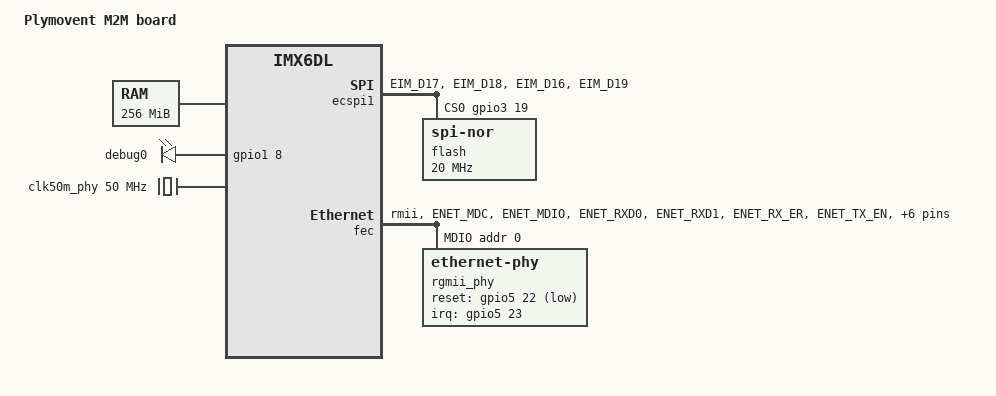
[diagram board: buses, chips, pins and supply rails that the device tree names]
// SPDX-License-Identifier: GPL-2.0-or-later
/*
 * Copyright (c) 2014 Protonic Holland
 */

/dts-v1/;
#include <arm/imx6dl.dtsi>
#include "imx6qdl-prti6q.dtsi"
#include "imx6qdl-prti6q-nor.dtsi"

/ {
	model = "Plymovent M2M board";
	compatible = "ply,plym2m", "fsl,imx6dl";

	memory {
		reg = <0x10000000 0x10000000>;
	};

	leds: leds {
		compatible = "gpio-leds";
		pinctrl-names = "default";
		pinctrl-0 = <&pinctrl_leds>;

		debug0 {
			label = "debug0";
			gpios = <&gpio1 8 0>;
			linux,default-trigger = "heartbeat";
		};
	};

	clk50m_phy: phy_clock {
		compatible = "fixed-clock";
		#clock-cells = <0>;
		clock-frequency = <50000000>;
	};
};

&ecspi1 {
	cs-gpios = <&gpio3 19 GPIO_ACTIVE_HIGH>;
	pinctrl-names = "default";
	pinctrl-0 = <&pinctrl_ecspi1>;
	status = "okay";

	flash@0 {
		compatible = "jedec,spi-nor";
		reg = <0>;
		spi-max-frequency = <20000000>;
		#address-cells = <1>;
		#size-cells = <1>;
	};
};

&fec {
	pinctrl-names = "default";
	pinctrl-0 = <&pinctrl_enet>;
	phy-mode = "rmii";
	clocks = <&clks IMX6QDL_CLK_ENET>,
		 <&clks IMX6QDL_CLK_ENET>,
		 <&clk50m_phy>;
	clock-names = "ipg", "ahb", "ptp";
	status = "okay";

	mdio {
		#address-cells = <1>;
		#size-cells = <0>;

		/* Microchip KSZ8081RNA PHY */
		rgmii_phy: ethernet-phy@0 {
			reg = <0>;
			interrupts-extended = <&gpio5 23 IRQ_TYPE_LEVEL_LOW>;
			reset-gpios = <&gpio5 22 GPIO_ACTIVE_LOW>;
			reset-assert-us = <10000>;
			reset-deassert-us = <300>;
		};
	};
};

&iomuxc {
	pinctrl_hog: hoggrp {
		fsl,pins = <
			/* CAN1_SR GPIO output */
			MX6QDL_PAD_KEY_COL3__GPIO4_IO12	0x13070

			MX6QDL_PAD_GPIO_0__GPIO1_IO00	0x1b0b0 /* CAN1_TERM */
			MX6QDL_PAD_EIM_EB2__GPIO2_IO30	0x1b0b0 /* TSC_BUSY */

			/* HW revision detect */
			MX6QDL_PAD_SD4_DAT0__GPIO2_IO08 0x1b0b0 /* REV_ID0 */
			MX6QDL_PAD_SD4_DAT1__GPIO2_IO09 0x1b0b0 /* REV_ID1 */
			MX6QDL_PAD_SD4_DAT2__GPIO2_IO10 0x1b0b0 /* REV_ID2 */
			MX6QDL_PAD_SD4_DAT3__GPIO2_IO11 0x1b0b0 /* REV_ID3 */
			MX6QDL_PAD_SD4_DAT4__GPIO2_IO12 0x1b0b0 /* REV_ID4 */
		>;
	};

	pinctrl_ecspi1: ecspi1grp {
		fsl,pins = <
			MX6QDL_PAD_EIM_D17__ECSPI1_MISO		0x100b1
			MX6QDL_PAD_EIM_D18__ECSPI1_MOSI		0x100b1
			MX6QDL_PAD_EIM_D16__ECSPI1_SCLK		0x100b1
			/* CS */
			MX6QDL_PAD_EIM_D19__GPIO3_IO19		0x000b1
		>;
	};

	pinctrl_usbotg: usbotggrp {
		fsl,pins = <
			MX6QDL_PAD_EIM_D21__USB_OTG_OC	0x1b0b0
			/* power enable, high active */
			MX6QDL_PAD_EIM_D22__GPIO3_IO22	0x1b0b0
		>;
	};

	pinctrl_ipu1_disp: ipudisp1grp {
		fsl,pins = <
			/* DSE 0x30 => 25 Ohm, 0x20 => 37 Ohm, 0x10 => 75 Ohm */
			MX6QDL_PAD_DI0_DISP_CLK__IPU1_DI0_DISP_CLK	0x30
			MX6QDL_PAD_DI0_PIN15__IPU1_DI0_PIN15		0x30
			MX6QDL_PAD_DI0_PIN2__IPU1_DI0_PIN02		0x30
			MX6QDL_PAD_DI0_PIN3__IPU1_DI0_PIN03		0x30
			MX6QDL_PAD_DISP0_DAT0__IPU1_DISP0_DATA00	0x30
			MX6QDL_PAD_DISP0_DAT1__IPU1_DISP0_DATA01	0x30
			MX6QDL_PAD_DISP0_DAT2__IPU1_DISP0_DATA02	0x30
			MX6QDL_PAD_DISP0_DAT3__IPU1_DISP0_DATA03	0x30
			MX6QDL_PAD_DISP0_DAT4__IPU1_DISP0_DATA04	0x30
			MX6QDL_PAD_DISP0_DAT5__IPU1_DISP0_DATA05	0x30
			MX6QDL_PAD_DISP0_DAT6__IPU1_DISP0_DATA06	0x30
			MX6QDL_PAD_DISP0_DAT7__IPU1_DISP0_DATA07	0x30
			MX6QDL_PAD_DISP0_DAT8__IPU1_DISP0_DATA08	0x30
			MX6QDL_PAD_DISP0_DAT9__IPU1_DISP0_DATA09	0x30
			MX6QDL_PAD_DISP0_DAT10__IPU1_DISP0_DATA10	0x30
			MX6QDL_PAD_DISP0_DAT11__IPU1_DISP0_DATA11	0x30
			MX6QDL_PAD_DISP0_DAT12__IPU1_DISP0_DATA12	0x30
			MX6QDL_PAD_DISP0_DAT13__IPU1_DISP0_DATA13	0x30
			MX6QDL_PAD_DISP0_DAT14__IPU1_DISP0_DATA14	0x30
			MX6QDL_PAD_DISP0_DAT15__IPU1_DISP0_DATA15	0x30
			MX6QDL_PAD_DISP0_DAT16__IPU1_DISP0_DATA16	0x30
			MX6QDL_PAD_DISP0_DAT17__IPU1_DISP0_DATA17	0x30
		>;
	};

	pinctrl_enet: enetgrp {
		fsl,pins = <
			/* MX6QDL_ENET_PINGRP4 */
			MX6QDL_PAD_ENET_MDC__ENET_MDC           0x1b0b0
			MX6QDL_PAD_ENET_MDIO__ENET_MDIO         0x1b0b0
			MX6QDL_PAD_ENET_RXD0__ENET_RX_DATA0     0x1b0b0
			MX6QDL_PAD_ENET_RXD1__ENET_RX_DATA1     0x1b0b0
			MX6QDL_PAD_ENET_RX_ER__ENET_RX_ER       0x1b0b0
			MX6QDL_PAD_ENET_TX_EN__ENET_TX_EN       0x1b0b0
			MX6QDL_PAD_ENET_TXD0__ENET_TX_DATA0     0x1b0b0
			MX6QDL_PAD_ENET_TXD1__ENET_TX_DATA1     0x1b0b0
			MX6QDL_PAD_ENET_CRS_DV__ENET_RX_EN      0x1b0b0

			MX6QDL_PAD_GPIO_16__ENET_REF_CLK   0x1b0b0
			/* Phy reset */
			MX6QDL_PAD_CSI0_DAT4__GPIO5_IO22   0x1b0b0
			/* nINTRP */
			MX6QDL_PAD_CSI0_DAT5__GPIO5_IO23   0x1b0b0
		>;
	};

	pinctrl_pwm1: pwm1grp {
		fsl,pins = <
			MX6QDL_PAD_GPIO_9__PWM1_OUT	0x1b0b0
		>;
	};

	pinctrl_backlight_m2m: backlightm2mgrp {
	};

	pinctrl_leds: ledsgrp {
		fsl,pins = <
			MX6QDL_PAD_GPIO_8__GPIO1_IO08	0x1b0b0
		>;
	};
};
